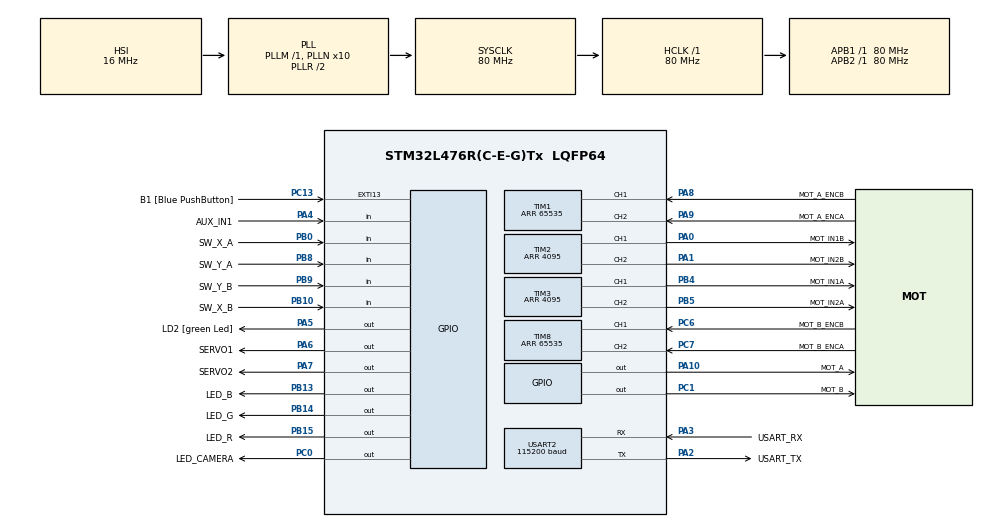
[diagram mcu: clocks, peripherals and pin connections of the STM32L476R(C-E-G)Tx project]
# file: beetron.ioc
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Mcu.Family=STM32L4
Mcu.Name=STM32L476R(C-E-G)Tx
Mcu.Package=LQFP64
NVIC.PriorityGroup=NVIC_PRIORITYGROUP_4
NVIC.USART2_IRQn=true\:5\:0\:true\:false\:true\:true\:true
PA0.GPIO_Label=MOT_IN1B
PA0.Signal=S_TIM2_CH1
PA1.GPIO_Label=MOT_IN2B
PA1.Signal=S_TIM2_CH2
PA10.GPIO_Label=MOT_A
PA10.Signal=GPIO_Output
PA13\ (JTMS-SWDIO).GPIO_Label=TMS
PA13\ (JTMS-SWDIO).Mode=Trace_Asynchronous_SW
PA13\ (JTMS-SWDIO).Signal=SYS_JTMS-SWDIO
PA14\ (JTCK-SWCLK).GPIO_Label=TCK
PA14\ (JTCK-SWCLK).Mode=Trace_Asynchronous_SW
PA14\ (JTCK-SWCLK).Signal=SYS_JTCK-SWCLK
PA2.GPIO_Label=USART_TX
PA2.GPIO_Mode=GPIO_MODE_AF_PP
PA2.GPIO_PuPd=GPIO_NOPULL
PA2.GPIO_Speed=GPIO_SPEED_FREQ_VERY_HIGH
PA2.Mode=Asynchronous
PA2.Signal=USART2_TX
PA3.GPIO_Label=USART_RX
PA3.GPIO_Mode=GPIO_MODE_AF_PP
PA3.GPIO_PuPd=GPIO_NOPULL
PA3.GPIO_Speed=GPIO_SPEED_FREQ_VERY_HIGH
PA3.Mode=Asynchronous
PA3.Signal=USART2_RX
PA4.GPIO_Label=AUX_IN1
PA4.GPIO_PuPd=GPIO_PULLUP
PA4.Signal=GPIO_Input
PA5.GPIO_Label=LD2 [green Led]
PA5.GPIO_ModeDefaultOutputPP=GPIO_MODE_OUTPUT_PP
PA5.GPIO_PuPd=GPIO_NOPULL
PA5.GPIO_Speed=GPIO_SPEED_FREQ_LOW
PA5.Signal=GPIO_Output
PA6.GPIO_Label=SERVO1
PA6.GPIO_ModeDefaultOutputPP=GPIO_MODE_OUTPUT_OD
PA6.Signal=GPIO_Output
PA7.GPIO_Label=SERVO2
PA7.GPIO_ModeDefaultOutputPP=GPIO_MODE_OUTPUT_OD
PA7.Signal=GPIO_Output
PA8.GPIO_Label=MOT_A_ENCB
PA8.GPIO_PuPd=GPIO_PULLUP
PA8.Signal=S_TIM1_CH1
PA9.GPIO_Label=MOT_A_ENCA
PA9.GPIO_PuPd=GPIO_PULLUP
PA9.Signal=S_TIM1_CH2
PB0.GPIO_Label=SW_X_A
PB0.GPIO_PuPd=GPIO_PULLUP
PB0.Signal=GPIO_Input
PB10.GPIO_Label=SW_X_B
PB10.GPIO_PuPd=GPIO_PULLUP
PB10.Signal=GPIO_Input
PB13.GPIO_Label=LED_B
PB13.Signal=GPIO_Output
PB14.GPIO_Label=LED_G
PB14.Signal=GPIO_Output
PB15.GPIO_Label=LED_R
PB15.Signal=GPIO_Output
PB3\ (JTDO-TRACESWO).GPIO_Label=SWO
PB3\ (JTDO-TRACESWO).Mode=Trace_Asynchronous_SW
PB3\ (JTDO-TRACESWO).Signal=SYS_JTDO-SWO
PB4\ (NJTRST).GPIO_Label=MOT_IN1A
PB4\ (NJTRST).Signal=S_TIM3_CH1
PB5.GPIO_Label=MOT_IN2A
PB5.Signal=S_TIM3_CH2
PB8.GPIO_Label=SW_Y_A
PB8.GPIO_PuPd=GPIO_PULLUP
PB8.Signal=GPIO_Input
PB9.GPIO_Label=SW_Y_B
PB9.GPIO_PuPd=GPIO_PULLUP
PB9.Signal=GPIO_Input
PC0.GPIO_Label=LED_CAMERA
PC0.Signal=GPIO_Output
PC1.GPIO_Label=MOT_B
PC1.Signal=GPIO_Output
PC13.GPIO_Label=B1 [Blue PushButton]
PC13.GPIO_ModeDefaultEXTI=GPIO_MODE_IT_FALLING
PC13.GPIO_PuPd=GPIO_NOPULL
PC13.Signal=GPXTI13
PC14-OSC32_IN\ (PC14).Mode=LSE-External-Oscillator
PC14-OSC32_IN\ (PC14).Signal=RCC_OSC32_IN
PC15-OSC32_OUT\ (PC15).Mode=LSE-External-Oscillator
PC15-OSC32_OUT\ (PC15).Signal=RCC_OSC32_OUT
PC6.GPIO_Label=MOT_B_ENCB
PC6.GPIO_PuPd=GPIO_PULLUP
PC6.Signal=S_TIM8_CH1
PC7.GPIO_Label=MOT_B_ENCA
PC7.GPIO_PuPd=GPIO_PULLUP
PC7.Signal=S_TIM8_CH2
PH0-OSC_IN\ (PH0).Mode=HSE-External-Oscillator
PH0-OSC_IN\ (PH0).Signal=RCC_OSC_IN
PH1-OSC_OUT\ (PH1).Mode=HSE-External-Oscillator
PH1-OSC_OUT\ (PH1).Signal=RCC_OSC_OUT
ProjectManager.HeapSize=0x200
ProjectManager.StackSize=0x400
ProjectManager.TargetToolchain=MDK-ARM V5.27
RCC.ADCFreq_Value=64000000
RCC.AHBFreq_Value=80000000
RCC.APB1Freq_Value=80000000
RCC.APB1TimFreq_Value=80000000
RCC.APB2Freq_Value=80000000
RCC.APB2TimFreq_Value=80000000
RCC.CortexFreq_Value=80000000
RCC.HCLKFreq_Value=80000000
RCC.HSE_VALUE=8000000
RCC.HSI_VALUE=16000000
RCC.MSI_VALUE=4000000
RCC.PLLN=10
RCC.PLLSourceVirtual=RCC_PLLSOURCE_HSI
RCC.PREFETCH_ENABLE=1
RCC.SYSCLKFreq_VALUE=80000000
RCC.SYSCLKSource=RCC_SYSCLKSOURCE_PLLCLK
RCC.USBFreq_Value=64000000
RCC.VCOOutputFreq_Value=160000000
SH.S_TIM1_CH1.0=TIM1_CH1,Encoder_Interface
SH.S_TIM1_CH2.0=TIM1_CH2,Encoder_Interface
SH.S_TIM2_CH1.0=TIM2_CH1,PWM Generation1 CH1
SH.S_TIM2_CH2.0=TIM2_CH2,PWM Generation2 CH2
SH.S_TIM3_CH1.0=TIM3_CH1,PWM Generation1 CH1
SH.S_TIM3_CH2.0=TIM3_CH2,PWM Generation2 CH2
SH.S_TIM8_CH1.0=TIM8_CH1,Encoder_Interface
SH.S_TIM8_CH2.0=TIM8_CH2,Encoder_Interface
TIM1.AutoReloadPreload=TIM_AUTORELOAD_PRELOAD_DISABLE
TIM1.EncoderMode=TIM_ENCODERMODE_TI12
TIM1.IC1Filter=5
TIM1.IC1Prescaler=TIM_ICPSC_DIV8
TIM1.IC2Filter=5
TIM1.IC2Polarity=TIM_ICPOLARITY_RISING
TIM1.IC2Prescaler=TIM_ICPSC_DIV8
TIM1.Period=65535
TIM2.Channel-PWM\ Generation1\ CH1=TIM_CHANNEL_1
TIM2.Channel-PWM\ Generation2\ CH2=TIM_CHANNEL_2
TIM2.Period=4095
TIM2.TIM_MasterOutputTrigger=TIM_TRGO_RESET
TIM3.Channel-PWM\ Generation1\ CH1=TIM_CHANNEL_1
TIM3.Channel-PWM\ Generation2\ CH2=TIM_CHANNEL_2
TIM3.Period=4095
TIM8.EncoderMode=TIM_ENCODERMODE_TI12
TIM8.IC1Filter=0
TIM8.IC1Prescaler=TIM_ICPSC_DIV1
TIM8.IC2Filter=0
TIM8.IC2Prescaler=TIM_ICPSC_DIV1
TIM8.Period=65535
USART2.BaudRate=115200
USART2.VirtualMode-Asynchronous=VM_ASYNC
USART2.WordLength=WORDLENGTH_8B
VP_TIM2_VS_ClockSourceINT.Mode=Internal
VP_TIM3_VS_ClockSourceINT.Mode=Internal
board=NUCLEO-L476RG

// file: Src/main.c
/* USER CODE BEGIN Header */
/**
  ******************************************************************************
  * @file           : main.c
  * @brief          : Main program body
  ******************************************************************************
  * @attention
  *
  * <h2><center>&copy; Copyright (c) 2019 STMicroelectronics.
  * All rights reserved.</center></h2>
  *
  * This software component is licensed by ST under BSD 3-Clause license,
  * the "License"; You may not use this file except in compliance with the
  * License. You may obtain a copy of the License at:
  *                        opensource.org/licenses/BSD-3-Clause
  *
  ******************************************************************************
  */
/* USER CODE END Header */

#include "main.h"

/* USER CODE BEGIN Includes */

#include "encoders.h"
#include "motors.h"
#include "servos.h"
#include "switches.h"
#include "print.h"
#include "communication.h"
#include "targets.h"
#include "controller.h"

/* USER CODE END Includes */

TIM_HandleTypeDef htim1;
TIM_HandleTypeDef htim2;
TIM_HandleTypeDef htim3;
TIM_HandleTypeDef htim8;

UART_HandleTypeDef huart2;

void SystemClock_Config(void);
static void MX_GPIO_Init(void);
static void MX_TIM1_Init(void);
static void MX_TIM2_Init(void);
static void MX_TIM3_Init(void);
static void MX_TIM8_Init(void);
static void MX_USART2_UART_Init(void);

/* USER CODE BEGIN 0 */
uint32_t ticks;
uint32_t ticks_new;

/* USER CODE END 0 */

int main(void)
{

  /* MCU Configuration--------------------------------------------------------*/

  /* Reset of all peripherals, Initializes the Flash interface and the Systick. */
  HAL_Init();

  /* Configure the system clock */
  SystemClock_Config();

  /* Initialize all configured peripherals */
  MX_GPIO_Init();
  MX_TIM1_Init();
  MX_TIM2_Init();
  MX_TIM3_Init();
  MX_TIM8_Init();
  MX_USART2_UART_Init();
  /* USER CODE BEGIN 2 */

	uartPrintln("Initiating");

	servosInit();
	controllerInit();

	uartPrintln("Starting main loop");

  /* USER CODE END 2 */

  /* Infinite loop */
  /* USER CODE BEGIN WHILE */
  while (1)
  {
		ticks_new = HAL_GetTick();

		communicationTick();
		targetsTick(ticks_new - ticks);
		encodersTick();
		controllerTick(ticks_new - ticks);
		motorsSpeedTick();

		ticks = ticks_new;
    /* USER CODE END WHILE */

  }
}

void SystemClock_Config(void)
{
  RCC_OscInitTypeDef RCC_OscInitStruct = {0};
  RCC_ClkInitTypeDef RCC_ClkInitStruct = {0};
  RCC_PeriphCLKInitTypeDef PeriphClkInit = {0};

  /** Initializes the CPU, AHB and APB busses clocks
  */
  RCC_OscInitStruct.OscillatorType = RCC_OSCILLATORTYPE_HSI;
  RCC_OscInitStruct.HSIState = RCC_HSI_ON;
  RCC_OscInitStruct.HSICalibrationValue = RCC_HSICALIBRATION_DEFAULT;
  RCC_OscInitStruct.PLL.PLLState = RCC_PLL_ON;
  RCC_OscInitStruct.PLL.PLLSource = RCC_PLLSOURCE_HSI;
  RCC_OscInitStruct.PLL.PLLM = 1;
  RCC_OscInitStruct.PLL.PLLN = 10;
  RCC_OscInitStruct.PLL.PLLP = RCC_PLLP_DIV7;
  RCC_OscInitStruct.PLL.PLLQ = RCC_PLLQ_DIV2;
  RCC_OscInitStruct.PLL.PLLR = RCC_PLLR_DIV2;
  if (HAL_RCC_OscConfig(&RCC_OscInitStruct) != HAL_OK)
  {
    Error_Handler();
  }
  /** Initializes the CPU, AHB and APB busses clocks
  */
  RCC_ClkInitStruct.ClockType = RCC_CLOCKTYPE_HCLK|RCC_CLOCKTYPE_SYSCLK
                              |RCC_CLOCKTYPE_PCLK1|RCC_CLOCKTYPE_PCLK2;
  RCC_ClkInitStruct.SYSCLKSource = RCC_SYSCLKSOURCE_PLLCLK;
  RCC_ClkInitStruct.AHBCLKDivider = RCC_SYSCLK_DIV1;
  RCC_ClkInitStruct.APB1CLKDivider = RCC_HCLK_DIV1;
  RCC_ClkInitStruct.APB2CLKDivider = RCC_HCLK_DIV1;

  if (HAL_RCC_ClockConfig(&RCC_ClkInitStruct, FLASH_LATENCY_4) != HAL_OK)
  {
    Error_Handler();
  }
  PeriphClkInit.PeriphClockSelection = RCC_PERIPHCLK_USART2;
  PeriphClkInit.Usart2ClockSelection = RCC_USART2CLKSOURCE_PCLK1;
  if (HAL_RCCEx_PeriphCLKConfig(&PeriphClkInit) != HAL_OK)
  {
    Error_Handler();
  }
  /** Configure the main internal regulator output voltage
  */
  if (HAL_PWREx_ControlVoltageScaling(PWR_REGULATOR_VOLTAGE_SCALE1) != HAL_OK)
  {
    Error_Handler();
  }
}

static void MX_TIM1_Init(void)
{

  TIM_Encoder_InitTypeDef sConfig = {0};
  TIM_MasterConfigTypeDef sMasterConfig = {0};

  htim1.Instance = TIM1;
  htim1.Init.Prescaler = 0;
  htim1.Init.CounterMode = TIM_COUNTERMODE_UP;
  htim1.Init.Period = 65535;
  htim1.Init.ClockDivision = TIM_CLOCKDIVISION_DIV1;
  htim1.Init.RepetitionCounter = 0;
  htim1.Init.AutoReloadPreload = TIM_AUTORELOAD_PRELOAD_DISABLE;
  sConfig.EncoderMode = TIM_ENCODERMODE_TI12;
  sConfig.IC1Polarity = TIM_ICPOLARITY_RISING;
  sConfig.IC1Selection = TIM_ICSELECTION_DIRECTTI;
  sConfig.IC1Prescaler = TIM_ICPSC_DIV8;
  sConfig.IC1Filter = 5;
  sConfig.IC2Polarity = TIM_ICPOLARITY_RISING;
  sConfig.IC2Selection = TIM_ICSELECTION_DIRECTTI;
  sConfig.IC2Prescaler = TIM_ICPSC_DIV8;
  sConfig.IC2Filter = 5;
  if (HAL_TIM_Encoder_Init(&htim1, &sConfig) != HAL_OK)
  {
    Error_Handler();
  }
  sMasterConfig.MasterOutputTrigger = TIM_TRGO_RESET;
  sMasterConfig.MasterOutputTrigger2 = TIM_TRGO2_RESET;
  sMasterConfig.MasterSlaveMode = TIM_MASTERSLAVEMODE_DISABLE;
  if (HAL_TIMEx_MasterConfigSynchronization(&htim1, &sMasterConfig) != HAL_OK)
  {
    Error_Handler();
  }
  /* USER CODE BEGIN TIM1_Init 2 */
	HAL_TIM_Encoder_Start(&htim1,TIM_CHANNEL_ALL);
  /* USER CODE END TIM1_Init 2 */

}

static void MX_TIM2_Init(void)
{

  TIM_ClockConfigTypeDef sClockSourceConfig = {0};
  TIM_MasterConfigTypeDef sMasterConfig = {0};
  TIM_OC_InitTypeDef sConfigOC = {0};

  htim2.Instance = TIM2;
  htim2.Init.Prescaler = 0;
  htim2.Init.CounterMode = TIM_COUNTERMODE_UP;
  htim2.Init.Period = 4095;
  htim2.Init.ClockDivision = TIM_CLOCKDIVISION_DIV1;
  htim2.Init.AutoReloadPreload = TIM_AUTORELOAD_PRELOAD_DISABLE;
  if (HAL_TIM_Base_Init(&htim2) != HAL_OK)
  {
    Error_Handler();
  }
  sClockSourceConfig.ClockSource = TIM_CLOCKSOURCE_INTERNAL;
  if (HAL_TIM_ConfigClockSource(&htim2, &sClockSourceConfig) != HAL_OK)
  {
    Error_Handler();
  }
  if (HAL_TIM_PWM_Init(&htim2) != HAL_OK)
  {
    Error_Handler();
  }
  sMasterConfig.MasterOutputTrigger = TIM_TRGO_RESET;
  sMasterConfig.MasterSlaveMode = TIM_MASTERSLAVEMODE_DISABLE;
  if (HAL_TIMEx_MasterConfigSynchronization(&htim2, &sMasterConfig) != HAL_OK)
  {
    Error_Handler();
  }
  sConfigOC.OCMode = TIM_OCMODE_PWM1;
  sConfigOC.Pulse = 0;
  sConfigOC.OCPolarity = TIM_OCPOLARITY_HIGH;
  sConfigOC.OCFastMode = TIM_OCFAST_DISABLE;
  if (HAL_TIM_PWM_ConfigChannel(&htim2, &sConfigOC, TIM_CHANNEL_1) != HAL_OK)
  {
    Error_Handler();
  }
  if (HAL_TIM_PWM_ConfigChannel(&htim2, &sConfigOC, TIM_CHANNEL_2) != HAL_OK)
  {
    Error_Handler();
  }
  HAL_TIM_MspPostInit(&htim2);

}

static void MX_TIM3_Init(void)
{

  TIM_ClockConfigTypeDef sClockSourceConfig = {0};
  TIM_MasterConfigTypeDef sMasterConfig = {0};
  TIM_OC_InitTypeDef sConfigOC = {0};

  htim3.Instance = TIM3;
  htim3.Init.Prescaler = 0;
  htim3.Init.CounterMode = TIM_COUNTERMODE_UP;
  htim3.Init.Period = 4095;
  htim3.Init.ClockDivision = TIM_CLOCKDIVISION_DIV1;
  htim3.Init.AutoReloadPreload = TIM_AUTORELOAD_PRELOAD_DISABLE;
  if (HAL_TIM_Base_Init(&htim3) != HAL_OK)
  {
    Error_Handler();
  }
  sClockSourceConfig.ClockSource = TIM_CLOCKSOURCE_INTERNAL;
  if (HAL_TIM_ConfigClockSource(&htim3, &sClockSourceConfig) != HAL_OK)
  {
    Error_Handler();
  }
  if (HAL_TIM_PWM_Init(&htim3) != HAL_OK)
  {
    Error_Handler();
  }
  sMasterConfig.MasterOutputTrigger = TIM_TRGO_RESET;
  sMasterConfig.MasterSlaveMode = TIM_MASTERSLAVEMODE_DISABLE;
  if (HAL_TIMEx_MasterConfigSynchronization(&htim3, &sMasterConfig) != HAL_OK)
  {
    Error_Handler();
  }
  sConfigOC.OCMode = TIM_OCMODE_PWM1;
  sConfigOC.Pulse = 0;
  sConfigOC.OCPolarity = TIM_OCPOLARITY_HIGH;
  sConfigOC.OCFastMode = TIM_OCFAST_DISABLE;
  if (HAL_TIM_PWM_ConfigChannel(&htim3, &sConfigOC, TIM_CHANNEL_1) != HAL_OK)
  {
    Error_Handler();
  }
  if (HAL_TIM_PWM_ConfigChannel(&htim3, &sConfigOC, TIM_CHANNEL_2) != HAL_OK)
  {
    Error_Handler();
  }
  HAL_TIM_MspPostInit(&htim3);

}

static void MX_TIM8_Init(void)
{

  TIM_Encoder_InitTypeDef sConfig = {0};
  TIM_MasterConfigTypeDef sMasterConfig = {0};

  htim8.Instance = TIM8;
  htim8.Init.Prescaler = 0;
  htim8.Init.CounterMode = TIM_COUNTERMODE_UP;
  htim8.Init.Period = 65535;
  htim8.Init.ClockDivision = TIM_CLOCKDIVISION_DIV1;
  htim8.Init.RepetitionCounter = 0;
  htim8.Init.AutoReloadPreload = TIM_AUTORELOAD_PRELOAD_DISABLE;
  sConfig.EncoderMode = TIM_ENCODERMODE_TI12;
  sConfig.IC1Polarity = TIM_ICPOLARITY_RISING;
  sConfig.IC1Selection = TIM_ICSELECTION_DIRECTTI;
  sConfig.IC1Prescaler = TIM_ICPSC_DIV1;
  sConfig.IC1Filter = 0;
  sConfig.IC2Polarity = TIM_ICPOLARITY_RISING;
  sConfig.IC2Selection = TIM_ICSELECTION_DIRECTTI;
  sConfig.IC2Prescaler = TIM_ICPSC_DIV1;
  sConfig.IC2Filter = 0;
  if (HAL_TIM_Encoder_Init(&htim8, &sConfig) != HAL_OK)
  {
    Error_Handler();
  }
  sMasterConfig.MasterOutputTrigger = TIM_TRGO_RESET;
  sMasterConfig.MasterOutputTrigger2 = TIM_TRGO2_RESET;
  sMasterConfig.MasterSlaveMode = TIM_MASTERSLAVEMODE_DISABLE;
  if (HAL_TIMEx_MasterConfigSynchronization(&htim8, &sMasterConfig) != HAL_OK)
  {
    Error_Handler();
  }
  /* USER CODE BEGIN TIM8_Init 2 */
	HAL_TIM_Encoder_Start(&htim8,TIM_CHANNEL_ALL);
  /* USER CODE END TIM8_Init 2 */

}

static void MX_USART2_UART_Init(void)
{

  huart2.Instance = USART2;
  huart2.Init.BaudRate = 115200;
  huart2.Init.WordLength = UART_WORDLENGTH_8B;
  huart2.Init.StopBits = UART_STOPBITS_1;
  huart2.Init.Parity = UART_PARITY_NONE;
  huart2.Init.Mode = UART_MODE_TX_RX;
  huart2.Init.HwFlowCtl = UART_HWCONTROL_NONE;
  huart2.Init.OverSampling = UART_OVERSAMPLING_16;
  huart2.Init.OneBitSampling = UART_ONE_BIT_SAMPLE_DISABLE;
  huart2.AdvancedInit.AdvFeatureInit = UART_ADVFEATURE_NO_INIT;
  if (HAL_UART_Init(&huart2) != HAL_OK)
  {
    Error_Handler();
  }

}

static void MX_GPIO_Init(void)
{
  GPIO_InitTypeDef GPIO_InitStruct = {0};

  /* GPIO Ports Clock Enable */
  __HAL_RCC_GPIOC_CLK_ENABLE();
  __HAL_RCC_GPIOH_CLK_ENABLE();
  __HAL_RCC_GPIOA_CLK_ENABLE();
  __HAL_RCC_GPIOB_CLK_ENABLE();

  /*Configure GPIO pin Output Level */
  HAL_GPIO_WritePin(GPIOC, LED_CAMERA_Pin|MOT_B_Pin, GPIO_PIN_RESET);

  /*Configure GPIO pin Output Level */
  HAL_GPIO_WritePin(GPIOA, LD2_Pin|SERVO1_Pin|SERVO2_Pin|MOT_A_Pin, GPIO_PIN_RESET);

  /*Configure GPIO pin Output Level */
  HAL_GPIO_WritePin(GPIOB, LED_B_Pin|LED_G_Pin|LED_R_Pin, GPIO_PIN_RESET);

  /*Configure GPIO pin : B1_Pin */
  GPIO_InitStruct.Pin = B1_Pin;
  GPIO_InitStruct.Mode = GPIO_MODE_IT_FALLING;
  GPIO_InitStruct.Pull = GPIO_NOPULL;
  HAL_GPIO_Init(B1_GPIO_Port, &GPIO_InitStruct);

  /*Configure GPIO pins : LED_CAMERA_Pin MOT_B_Pin */
  GPIO_InitStruct.Pin = LED_CAMERA_Pin|MOT_B_Pin;
  GPIO_InitStruct.Mode = GPIO_MODE_OUTPUT_PP;
  GPIO_InitStruct.Pull = GPIO_NOPULL;
  GPIO_InitStruct.Speed = GPIO_SPEED_FREQ_LOW;
  HAL_GPIO_Init(GPIOC, &GPIO_InitStruct);

  /*Configure GPIO pin : AUX_IN1_Pin */
  GPIO_InitStruct.Pin = AUX_IN1_Pin;
  GPIO_InitStruct.Mode = GPIO_MODE_INPUT;
  GPIO_InitStruct.Pull = GPIO_PULLUP;
  HAL_GPIO_Init(AUX_IN1_GPIO_Port, &GPIO_InitStruct);

  /*Configure GPIO pins : LD2_Pin MOT_A_Pin */
  GPIO_InitStruct.Pin = LD2_Pin|MOT_A_Pin;
  GPIO_InitStruct.Mode = GPIO_MODE_OUTPUT_PP;
  GPIO_InitStruct.Pull = GPIO_NOPULL;
  GPIO_InitStruct.Speed = GPIO_SPEED_FREQ_LOW;
  HAL_GPIO_Init(GPIOA, &GPIO_InitStruct);

  /*Configure GPIO pins : SERVO1_Pin SERVO2_Pin */
  GPIO_InitStruct.Pin = SERVO1_Pin|SERVO2_Pin;
  GPIO_InitStruct.Mode = GPIO_MODE_OUTPUT_OD;
  GPIO_InitStruct.Pull = GPIO_NOPULL;
  GPIO_InitStruct.Speed = GPIO_SPEED_FREQ_LOW;
  HAL_GPIO_Init(GPIOA, &GPIO_InitStruct);

  /*Configure GPIO pins : SW_X_A_Pin SW_X_B_Pin SW_Y_A_Pin SW_Y_B_Pin */
  GPIO_InitStruct.Pin = SW_X_A_Pin|SW_X_B_Pin|SW_Y_A_Pin|SW_Y_B_Pin;
  GPIO_InitStruct.Mode = GPIO_MODE_INPUT;
  GPIO_InitStruct.Pull = GPIO_PULLUP;
  HAL_GPIO_Init(GPIOB, &GPIO_InitStruct);

  /*Configure GPIO pins : LED_B_Pin LED_G_Pin LED_R_Pin */
  GPIO_InitStruct.Pin = LED_B_Pin|LED_G_Pin|LED_R_Pin;
  GPIO_InitStruct.Mode = GPIO_MODE_OUTPUT_PP;
  GPIO_InitStruct.Pull = GPIO_NOPULL;
  GPIO_InitStruct.Speed = GPIO_SPEED_FREQ_LOW;
  HAL_GPIO_Init(GPIOB, &GPIO_InitStruct);

}

void Error_Handler(void)
{
}

/************************ (C) COPYRIGHT STMicroelectronics *****END OF FILE****/
